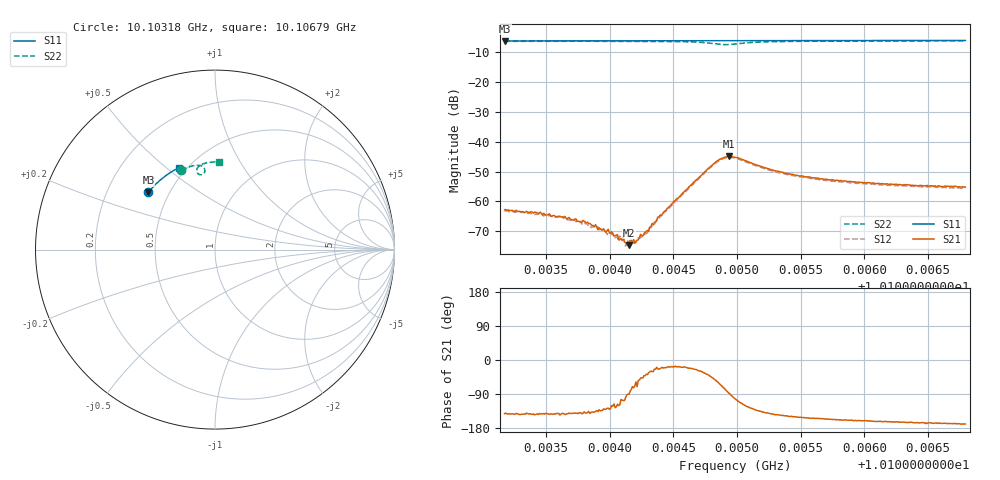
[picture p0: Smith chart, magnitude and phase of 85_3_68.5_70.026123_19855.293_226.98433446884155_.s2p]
#  HZ  S  RI  R  50.00
! Rohde & Schwarz Vector Network Analyzer
! Rohde-Schwarz,ZNB20-2Port,1311601062101988,3.16
! Created: UTC 3/20/2024, 4:52:20 PM
! freq[Hz]  re:S11  im:S11  re:S21  im:S21  re:S12  im:S12  re:S22  im:S22
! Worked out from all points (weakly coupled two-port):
!   401 points, 10.10318 GHz to 10.10679 GHz, reference 50 ohm
!   highest |S21| = -44.91 dB at 10.10494 GHz (marker M1); lowest = -74.6 dB at 10.10415 GHz (marker M2)
!   lowest |S11| = -6.2 dB at 10.10318 GHz (marker M3), VSWR 2.91, Z = 19.2 + j16.1 ohm
!   |S11| at or under -10 dB: nowhere
!   |S22| runs from -7.5 to -6.2 dB; largest |S21 - S12| = 0.00058
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1.0103176e10  -0.371 0.3182  -0.000567 -0.000451  -0.000522 -0.00044  -0.1874 0.4433
1.0103511e10  -0.3583 0.334  -0.000466 -0.000369  -0.000419 -0.000403  -0.1665 0.4524
1.0103782e10  -0.3474 0.3463  -0.00035 -0.000276  -0.000285 -0.000305  -0.1489 0.4591
1.0103809e10  -0.3464 0.3475  -0.000342 -0.000293  -0.000286 -0.000314  -0.1471 0.4597
1.0103944e10  -0.3406 0.3536  -0.000232 -0.000247  -0.000203 -0.000251  -0.1376 0.4627
1.0103999e10  -0.3384 0.3561  -0.000192 -0.000226  -0.000156 -0.00026  -0.1338 0.4639
1.0104053e10  -0.3361 0.3584  -0.000149 -0.000226  -7.89e-05 -0.000242  -0.1299 0.4649
1.0104098e10  -0.3342 0.3603  -6.19e-05 -0.000217  -5.5e-05 -0.000213  -0.1263 0.4658
1.0104134e10  -0.3325 0.3618  -7.76e-06 -0.000193  7.39e-07 -0.000187  -0.1236 0.4666
1.0104152e10  -0.3319 0.3627  -1.18e-07 -0.000187  4.73e-05 -0.000186  -0.1223 0.4669
1.0104189e10  -0.3303 0.3642  6.5e-05 -0.00022  6.56e-05 -0.000192  -0.1196 0.4674
1.0104216e10  -0.3291 0.3654  7.51e-05 -0.00021  0.000137 -0.000199  -0.1172 0.4679
1.0104279e10  -0.3264 0.3681  0.000227 -0.0002  0.000234 -0.000158  -0.112 0.4688
1.0104387e10  -0.3215 0.3726  0.000503 -0.00023  0.000476 -0.000158  -0.1022 0.4699
1.0104794e10  -0.3029 0.389  0.00281 -0.00268  0.00292 -0.00236  -0.0565 0.443
1.0104866e10  -0.2995 0.3916  0.00225 -0.00459  0.00251 -0.0042  -0.0625 0.424
1.0104939e10  -0.2963 0.3943  0.000187 -0.00568  0.000645 -0.0054  -0.0834 0.4172
1.0104984e10  -0.2945 0.396  -0.00117 -0.00535  -0.000651 -0.00525  -0.095 0.4236
1.0105291e10  -0.2799 0.4077  -0.00266 -0.00196  -0.00234 -0.00213  -0.0852 0.4683
1.010559e10  -0.2652 0.4183  -0.00224 -0.00109  -0.00204 -0.00126  -0.0601 0.4798
1.0106195e10  -0.2342 0.4381  -0.00184 -0.000575  -0.00172 -0.000718  -0.016 0.4876
1.0106792e10  -0.2023 0.4553  -0.00171 -0.000332  -0.00163 -0.000463  0.0241 0.4891
